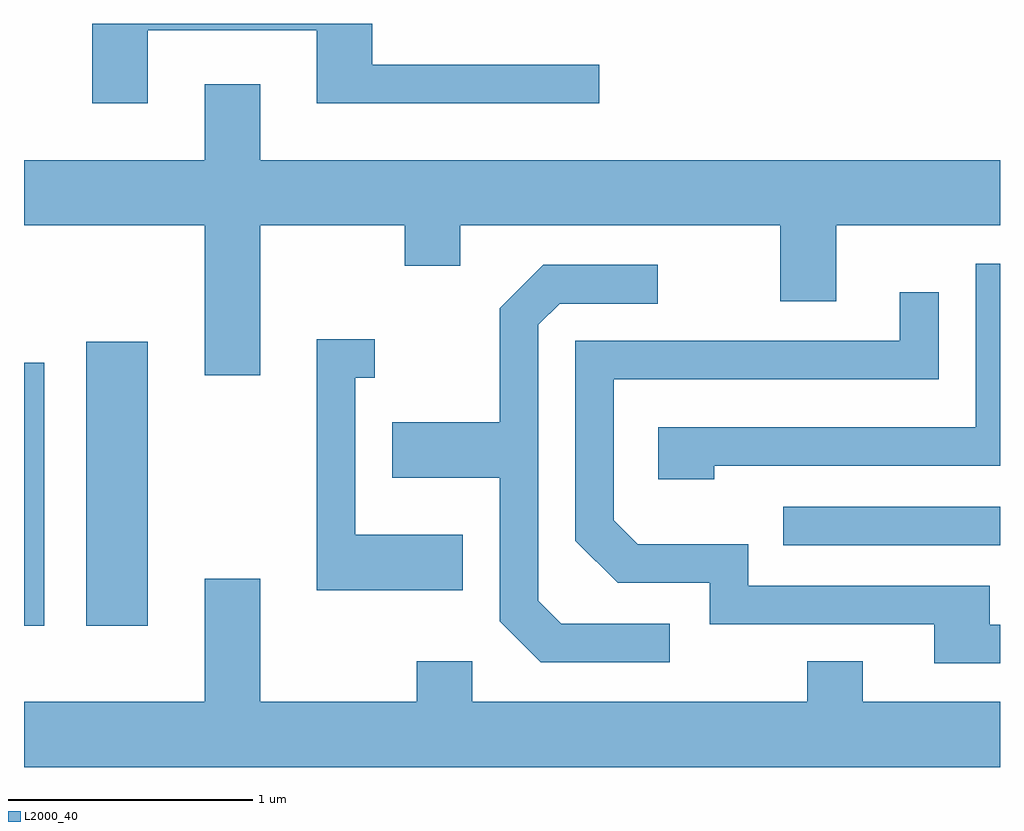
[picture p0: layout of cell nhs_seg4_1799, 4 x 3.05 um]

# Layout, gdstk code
import gdstk
lib = gdstk.Library(unit=1e-6, precision=1e-09)
def R(c, l, rs):  # rectangles x0, y0, x1, y1
    for r in rs: c.add(gdstk.rectangle(r[:2], r[2:], *l))
def P(c, l, *ps):  # polygons
    for p in ps: c.add(gdstk.Polygon(p, *l))
L2000_40 = (2000, 40)

nhs_seg4_1799 = lib.new_cell('nhs_seg4_1799')
R(nhs_seg4_1799, L2000_40, [(237.611,1317.516,237.694,1318.594), (237.866,1317.516,238.119,1318.679), (240.723,1317.846,241.611,1318.004)])
P(nhs_seg4_1799, L2000_40, [(238.119,1319.956),(238.811,1319.956),(238.811,1319.656),(239.968,1319.656),(239.968,1319.814),(239.039,1319.814),(239.039,1319.982),(237.891,1319.982),(237.891,1319.656),(238.119,1319.656)],
  [(238.579,1319.156),(239.171,1319.156),(239.171,1318.991),(239.399,1318.991),(239.399,1319.156),(240.711,1319.156),(240.711,1318.846),(240.939,1318.846),(240.939,1319.156),(241.611,1319.156),(241.611,1319.424),(238.579,1319.424),(238.579,1319.734),(238.351,1319.734),(238.351,1319.424),(237.611,1319.424),(237.611,1319.156),(238.351,1319.156),(238.351,1318.541),(238.579,1318.541)],
  [(240.439,1318.171),(241.611,1318.171),(241.611,1318.999),(241.511,1318.999),(241.511,1318.329),(240.211,1318.329),(240.211,1318.116),(240.439,1318.116)],
  [(240.258,1317.524),(239.812,1317.524),(239.719,1317.617),(239.719,1318.749),(239.807,1318.836),(240.208,1318.836),(240.208,1318.994),(239.739,1318.994),(239.561,1318.817),(239.561,1318.349),(239.121,1318.349),(239.121,1318.121),(239.561,1318.121),(239.561,1317.534),(239.729,1317.366),(240.258,1317.366)],
  [(241.611,1317.519),(241.569,1317.519),(241.569,1317.679),(240.579,1317.679),(240.579,1317.849),(240.127,1317.849),(240.029,1317.947),(240.029,1318.526),(241.359,1318.526),(241.359,1318.883),(241.201,1318.883),(241.201,1318.684),(239.871,1318.684),(239.871,1317.864),(240.044,1317.691),(240.421,1317.691),(240.421,1317.521),(241.341,1317.521),(241.341,1317.361),(241.611,1317.361)],
  [(239.409,1317.889),(238.969,1317.889),(238.969,1318.531),(239.048,1318.531),(239.048,1318.689),(238.811,1318.689),(238.811,1317.661),(239.409,1317.661)],
  [(241.611,1317.204),(241.049,1317.204),(241.049,1317.369),(240.821,1317.369),(240.821,1317.204),(239.449,1317.204),(239.449,1317.369),(239.221,1317.369),(239.221,1317.204),(238.579,1317.204),(238.579,1317.709),(238.351,1317.709),(238.351,1317.204),(237.611,1317.204),(237.611,1316.936),(241.611,1316.936)])

lib.write_gds('nhs_seg4_1799.gds')
